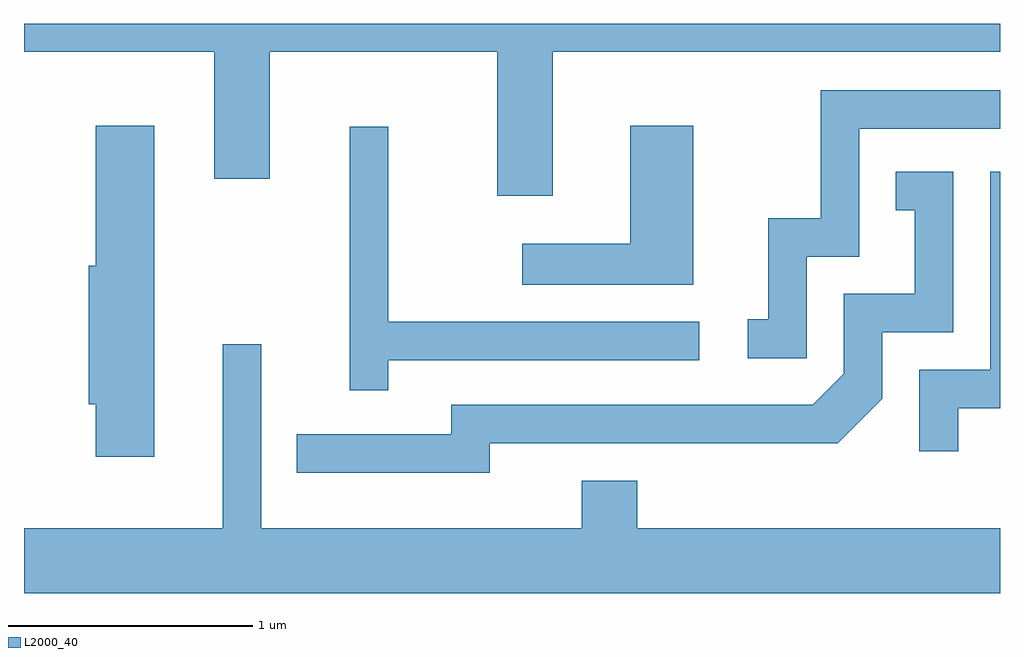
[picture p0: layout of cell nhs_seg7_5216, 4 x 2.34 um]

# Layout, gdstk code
import gdstk
lib = gdstk.Library(unit=1e-6, precision=1e-09)
def P(c, l, *ps):  # polygons
    for p in ps: c.add(gdstk.Polygon(p, *l))
L2000_40 = (2000, 40)

nhs_seg7_5216 = lib.new_cell('nhs_seg7_5216')
P(nhs_seg7_5216, L2000_40, [(347.779,1672.136),(349.611,1672.136),(349.611,1672.252),(345.611,1672.252),(345.611,1672.136),(346.391,1672.136),(346.391,1671.616),(346.619,1671.616),(346.619,1672.136),(347.551,1672.136),(347.551,1671.546),(347.779,1671.546)],
  [(348.819,1671.296),(349.034,1671.296),(349.034,1671.821),(349.611,1671.821),(349.611,1671.979),(348.876,1671.979),(348.876,1671.454),(348.661,1671.454),(348.661,1671.039),(348.578,1671.039),(348.578,1670.881),(348.819,1670.881)],
  [(348.354,1671.834),(348.096,1671.834),(348.096,1671.349),(347.653,1671.349),(347.653,1671.181),(348.354,1671.181)],
  [(346.144,1671.834),(345.906,1671.834),(345.906,1671.259),(345.876,1671.259),(345.876,1670.691),(345.906,1670.691),(345.906,1670.476),(346.144,1670.476)],
  [(347.104,1670.871),(348.378,1670.871),(348.378,1671.029),(347.104,1671.029),(347.104,1671.828),(346.946,1671.828),(346.946,1670.748),(347.104,1670.748)],
  [(347.519,1670.531),(348.947,1670.531),(349.129,1670.714),(349.129,1670.986),(349.419,1670.986),(349.419,1671.644),(349.183,1671.644),(349.183,1671.486),(349.261,1671.486),(349.261,1671.144),(348.971,1671.144),(348.971,1670.817),(348.844,1670.689),(347.361,1670.689),(347.361,1670.569),(346.728,1670.569),(346.728,1670.411),(347.519,1670.411)],
  [(349.439,1670.676),(349.611,1670.676),(349.611,1671.644),(349.571,1671.644),(349.571,1670.834),(349.281,1670.834),(349.281,1670.498),(349.439,1670.498)],
  [(349.611,1670.184),(348.124,1670.184),(348.124,1670.379),(347.896,1670.379),(347.896,1670.184),(346.584,1670.184),(346.584,1670.938),(346.426,1670.938),(346.426,1670.184),(345.611,1670.184),(345.611,1669.916),(349.611,1669.916)])

lib.write_gds('nhs_seg7_5216.gds')
